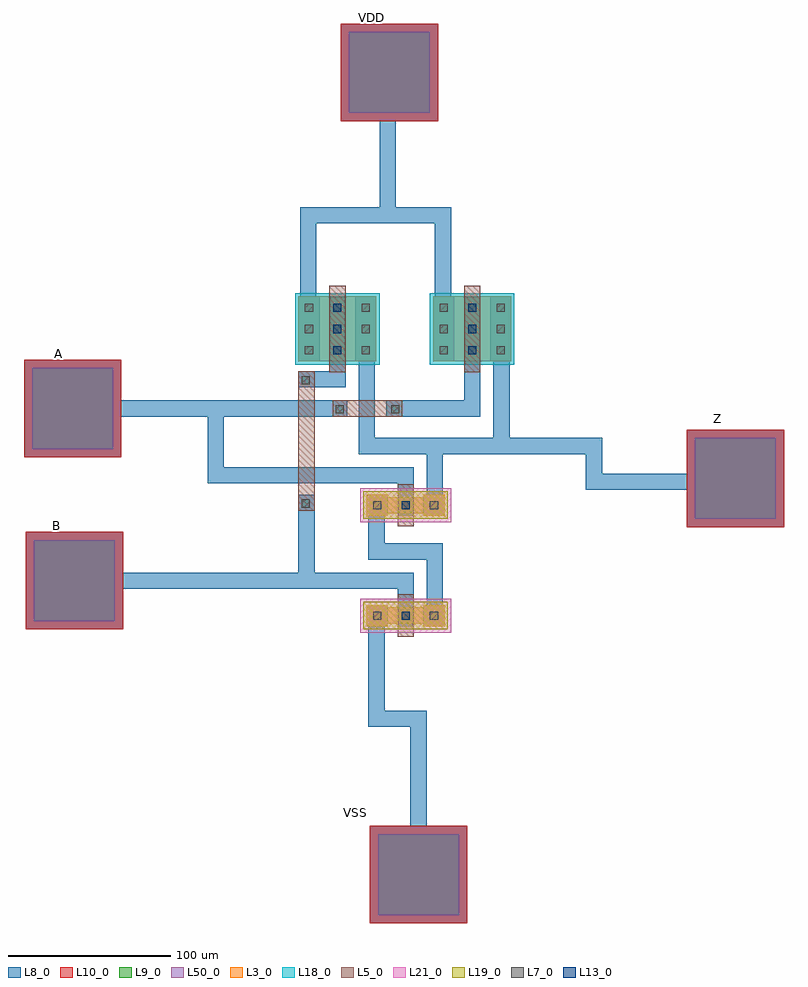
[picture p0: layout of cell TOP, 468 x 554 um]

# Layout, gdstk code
import gdstk
lib = gdstk.Library(unit=1e-6, precision=1e-09)
def R(c, l, rs):  # rectangles x0, y0, x1, y1
    for r in rs: c.add(gdstk.rectangle(r[:2], r[2:], *l))
L3_0 = (3, 0)
L5_0 = (5, 0)
L7_0 = (7, 0)
L8_0 = (8, 0)
L9_0 = (9, 0)
L10_0 = (10, 0)
L13_0 = (13, 0)
L18_0 = (18, 0)
L19_0 = (19, 0)
L21_0 = (21, 0)
L50_0 = (50, 0)

dcont = lib.new_cell('dcont')
R(dcont, L3_0, [(-6.5,-6.5,6.5,6.5)])
R(dcont, L7_0, [(-2.5,-2.5,2.5,2.5)])
R(dcont, L8_0, [(-6.5,-6.5,6.5,6.5)])

pcont_min = lib.new_cell('pcont_min')
R(pcont_min, L5_0, [(-4.5,-6.5,4.5,6.5)])
R(pcont_min, L7_0, [(-2.5,-2.5,2.5,2.5)])
R(pcont_min, L8_0, [(-4.5,-6.5,4.5,6.5)])
R(pcont_min, L13_0, [(-2.5,-2.5,2.5,2.5)])

pch = lib.new_cell('Pch')
R(pch, L3_0, [(0,17,48,57)])
R(pch, L18_0, [(-2,15,50,59)])
pch.add(gdstk.FlexPath([(6.5,17),(6.5,57)], 13, ends="flush", simple_path=True, layer=8, datatype=0))  # L8_0
pch.add(gdstk.FlexPath([(41.5,17),(41.5,57)], 13, ends="flush", simple_path=True, layer=8, datatype=0))  # L8_0
pch.add(gdstk.FlexPath([(24,17),(24,57)], 10, ends=(6.5, 6.5), simple_path=True, layer=5, datatype=0))  # L5_0
pch.add(gdstk.Reference(dcont, (6.5,24)))
pch.add(gdstk.Reference(dcont, (6.5,37)))
pch.add(gdstk.Reference(dcont, (6.5,50)))
pch.add(gdstk.Reference(dcont, (41.5,24)))
pch.add(gdstk.Reference(dcont, (41.5,37)))
pch.add(gdstk.Reference(dcont, (41.5,50)))
pch.add(gdstk.Reference(pcont_min, (24,24)))
pch.add(gdstk.Reference(pcont_min, (24,37)))
pch.add(gdstk.Reference(pcont_min, (24,50)))

nch_2 = lib.new_cell('Nch$2')
R(nch_2, L3_0, [(0,18.5,48,28.5)])
R(nch_2, L19_0, [(-2,15,50,32)])
R(nch_2, L21_0, [(-4,13,52,34)])
nch_2.add(gdstk.FlexPath([(6.5,17),(6.5,30)], 13, ends="flush", simple_path=True, layer=8, datatype=0))  # L8_0
nch_2.add(gdstk.FlexPath([(41.5,17),(41.5,30)], 13, ends="flush", simple_path=True, layer=8, datatype=0))  # L8_0
nch_2.add(gdstk.FlexPath([(24,17),(24,30)], 10, ends=(6.5, 6.5), simple_path=True, layer=5, datatype=0))  # L5_0
nch_2.add(gdstk.Reference(dcont, (6.5,23.5)))
nch_2.add(gdstk.Reference(dcont, (41.5,23.5)))
nch_2.add(gdstk.Reference(pcont_min, (24,23.5)))

pad60 = lib.new_cell('PAD60')
R(pad60, L8_0, [(-30,-30,30,30), (-30,-30,30,30)])
R(pad60, L9_0, [(-25,-25,25,25)])
R(pad60, L10_0, [(-30,-30,30,30)])
R(pad60, L50_0, [(-25,-25,25,25)])

top = lib.new_cell('TOP')
R(top, L7_0, [(2,-73,7,-68), (23,-15,28,-10), (57,-15,62,-10), (2,3,7,8)])
top.add(gdstk.FlexPath([(6,55),(6,107),(55,107),(55,175)], 10, ends="flush", simple_path=True, layer=8, datatype=0))  # L8_0
top.add(gdstk.FlexPath([(60,107),(89,107),(89,56)], 10, ends="flush", simple_path=True, layer=8, datatype=0))  # L8_0
top.add(gdstk.FlexPath([(48,-145),(48,-203),(74,-203),(74,-272)], 10, ends="flush", simple_path=True, layer=8, datatype=0))  # L8_0
top.add(gdstk.FlexPath([(66,-134),(66,-118),(-112,-118)], 10, ends="flush", simple_path=True, layer=8, datatype=0))  # L8_0
top.add(gdstk.FlexPath([(48,-77),(48,-100),(84,-100),(84,-134)], 10, ends="flush", simple_path=True, layer=8, datatype=0))  # L8_0
top.add(gdstk.FlexPath([(66,-67),(66,-53),(-51,-53),(-51,-12),(-111,-12)], 10, ends="flush", simple_path=True, layer=8, datatype=0))  # L8_0
top.add(gdstk.FlexPath([(84,-67),(84,-35),(182,-35),(182,-57),(243,-57)], 10, ends="flush", simple_path=True, layer=8, datatype=0))  # L8_0
top.add(gdstk.FlexPath([(42,18),(42,-35),(79,-35)], 10, ends="flush", simple_path=True, layer=8, datatype=0))  # L8_0
top.add(gdstk.FlexPath([(125,18),(125,-30)], 10, ends="flush", simple_path=True, layer=8, datatype=0))  # L8_0
top.add(gdstk.FlexPath([(-46,-12),(30,-12)], 10, ends="flush", simple_path=True, layer=8, datatype=0))  # L8_0
top.add(gdstk.FlexPath([(54,-12),(107,-12),(107,19)], 10, ends="flush", simple_path=True, layer=8, datatype=0))  # L8_0
top.add(gdstk.FlexPath([(24,19),(24,6),(0,6)], 10, ends="flush", simple_path=True, layer=8, datatype=0))  # L8_0
top.add(gdstk.FlexPath([(5,-65),(5,-113)], 10, ends="flush", simple_path=True, layer=8, datatype=0))  # L8_0
top.add(gdstk.FlexPath([(21,-12),(64,-12)], 10, ends="flush", simple_path=True, layer=5, datatype=0))  # L5_0
top.add(gdstk.FlexPath([(5,11),(5,-75)], 10, ends="flush", simple_path=True, layer=5, datatype=0))  # L5_0
top.add(gdstk.Reference(pch, (0,0)))
top.add(gdstk.Reference(pch, (83,0)))
top.add(gdstk.Reference(nch_2, (42,-95)))
top.add(gdstk.Reference(nch_2, (42,-163)))
top.add(gdstk.Reference(pad60, (-139,-12)))
top.add(gdstk.Reference(pad60, (-138,-118)))
top.add(gdstk.Reference(pad60, (269,-55)))
top.add(gdstk.Reference(pad60, (56,195)))
top.add(gdstk.Reference(pad60, (74,-299)))
top.add(gdstk.Label('A', (-148,22), layer=13, texttype=0))
top.add(gdstk.Label('VSS', (35,-261), layer=13, texttype=0))
top.add(gdstk.Label('Z', (258,-18), layer=13, texttype=0))
top.add(gdstk.Label('VDD', (45,229), layer=13, texttype=0))
top.add(gdstk.Label('B', (-149,-84), layer=13, texttype=0))

lib.write_gds('TOP.gds')
